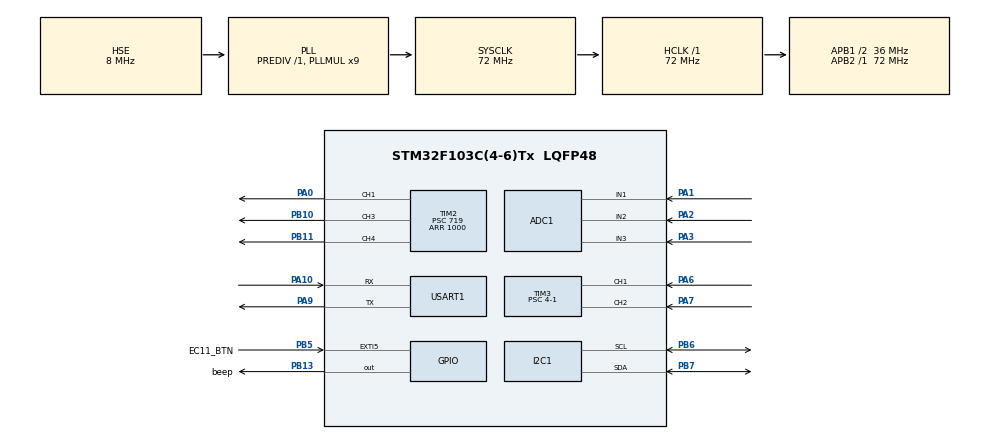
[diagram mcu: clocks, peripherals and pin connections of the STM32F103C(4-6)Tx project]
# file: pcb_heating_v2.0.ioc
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ADC1.Channel-0\#ChannelRegularConversion=ADC_CHANNEL_1
ADC1.Channel-1\#ChannelRegularConversion=ADC_CHANNEL_2
ADC1.Channel-2\#ChannelRegularConversion=ADC_CHANNEL_3
ADC1.NbrOfConversion=3
ADC1.NbrOfConversionFlag=1
ADC1.Rank-0\#ChannelRegularConversion=1
ADC1.Rank-1\#ChannelRegularConversion=2
ADC1.Rank-2\#ChannelRegularConversion=3
ADC1.SamplingTime-0\#ChannelRegularConversion=ADC_SAMPLETIME_55CYCLES_5
ADC1.SamplingTime-1\#ChannelRegularConversion=ADC_SAMPLETIME_55CYCLES_5
ADC1.SamplingTime-2\#ChannelRegularConversion=ADC_SAMPLETIME_55CYCLES_5
ADC1.master=1
Dma.ADC1.0.Direction=DMA_PERIPH_TO_MEMORY
Dma.ADC1.0.Instance=DMA1_Channel1
Dma.ADC1.0.MemDataAlignment=DMA_MDATAALIGN_HALFWORD
Dma.ADC1.0.MemInc=DMA_MINC_ENABLE
Dma.ADC1.0.Mode=DMA_CIRCULAR
Dma.ADC1.0.PeriphDataAlignment=DMA_PDATAALIGN_HALFWORD
Dma.ADC1.0.PeriphInc=DMA_PINC_DISABLE
Dma.ADC1.0.Priority=DMA_PRIORITY_LOW
Dma.Request0=ADC1
I2C1.I2C_Mode=I2C_Fast
Mcu.Family=STM32F1
Mcu.Name=STM32F103C(4-6)Tx
Mcu.Package=LQFP48
NVIC.ADC1_2_IRQn=true\:0\:0\:false\:false\:true\:true\:true\:true
NVIC.DMA1_Channel1_IRQn=true\:0\:0\:false\:false\:true\:false\:true\:true
NVIC.EXTI9_5_IRQn=true\:0\:0\:false\:false\:true\:true\:true\:true
NVIC.PriorityGroup=NVIC_PRIORITYGROUP_4
NVIC.TIM1_UP_IRQn=true\:0\:0\:false\:false\:true\:true\:true\:true
NVIC.USART1_IRQn=true\:0\:0\:false\:false\:true\:true\:true\:true
PA0-WKUP.GPIO_Speed=GPIO_SPEED_FREQ_HIGH
PA0-WKUP.Signal=S_TIM2_CH1_ETR
PA1.Signal=ADCx_IN1
PA10.Mode=Asynchronous
PA10.Signal=USART1_RX
PA13.Mode=Serial_Wire
PA13.Signal=SYS_JTMS-SWDIO
PA14.Mode=Serial_Wire
PA14.Signal=SYS_JTCK-SWCLK
PA2.Signal=ADCx_IN2
PA3.Signal=ADCx_IN3
PA6.GPIO_PuPd=GPIO_PULLUP
PA6.Signal=S_TIM3_CH1
PA7.GPIO_PuPd=GPIO_PULLUP
PA7.Signal=S_TIM3_CH2
PA9.Mode=Asynchronous
PA9.Signal=USART1_TX
PB10.GPIO_Speed=GPIO_SPEED_FREQ_HIGH
PB10.Signal=S_TIM2_CH3
PB11.GPIO_Speed=GPIO_SPEED_FREQ_HIGH
PB11.Signal=S_TIM2_CH4
PB13.GPIO_Label=beep
PB13.GPIO_PuPd=GPIO_PULLUP
PB13.PinState=GPIO_PIN_SET
PB13.Signal=GPIO_Output
PB5.GPIO_Label=EC11_BTN
PB5.GPIO_ModeDefaultEXTI=GPIO_MODE_IT_FALLING
PB5.GPIO_PuPd=GPIO_PULLUP
PB5.Signal=GPXTI5
PB6.GPIO_Pu=GPIO_PULLUP
PB6.Mode=I2C
PB6.Signal=I2C1_SCL
PB7.GPIO_Pu=GPIO_PULLUP
PB7.Mode=I2C
PB7.Signal=I2C1_SDA
PD0-OSC_IN.Mode=HSE-External-Oscillator
PD0-OSC_IN.Signal=RCC_OSC_IN
PD1-OSC_OUT.Mode=HSE-External-Oscillator
PD1-OSC_OUT.Signal=RCC_OSC_OUT
ProjectManager.HeapSize=0x200
ProjectManager.StackSize=0x400
ProjectManager.TargetToolchain=MDK-ARM V5.32
RCC.ADCPresc=RCC_ADCPCLK2_DIV6
RCC.AHBFreq_Value=72000000
RCC.APB1CLKDivider=RCC_HCLK_DIV2
RCC.APB1Freq_Value=36000000
RCC.APB1TimFreq_Value=72000000
RCC.APB2Freq_Value=72000000
RCC.APB2TimFreq_Value=72000000
RCC.HCLKFreq_Value=72000000
RCC.PLLMUL=RCC_PLL_MUL9
RCC.PLLSourceVirtual=RCC_PLLSOURCE_HSE
RCC.SYSCLKFreq_VALUE=72000000
RCC.SYSCLKSource=RCC_SYSCLKSOURCE_PLLCLK
RCC.USBFreq_Value=72000000
SH.ADCx_IN1.0=ADC1_IN1,IN1
SH.ADCx_IN2.0=ADC1_IN2,IN2
SH.ADCx_IN3.0=ADC1_IN3,IN3
SH.S_TIM2_CH1_ETR.0=TIM2_CH1,PWM Generation1 CH1
SH.S_TIM2_CH3.0=TIM2_CH3,PWM Generation3 CH3
SH.S_TIM2_CH4.0=TIM2_CH4,PWM Generation4 CH4
SH.S_TIM3_CH1.0=TIM3_CH1,Encoder_Interface
SH.S_TIM3_CH2.0=TIM3_CH2,Encoder_Interface
TIM1.Period=10000-1
TIM1.Prescaler=719
TIM1.TIM_MasterOutputTrigger=TIM_TRGO_RESET
TIM2.Channel-PWM\ Generation1\ CH1=TIM_CHANNEL_1
TIM2.Channel-PWM\ Generation3\ CH3=TIM_CHANNEL_3
TIM2.Channel-PWM\ Generation4\ CH4=TIM_CHANNEL_4
TIM2.OCPolarity_1=TIM_OCPOLARITY_LOW
TIM2.OCPolarity_3=TIM_OCPOLARITY_LOW
TIM2.Period=1000
TIM2.Prescaler=719
TIM3.ClockDivision=TIM_CLOCKDIVISION_DIV1
TIM3.EncoderMode=TIM_ENCODERMODE_TI12
TIM3.IC1Polarity=TIM_ICPOLARITY_FALLING
TIM3.IC1Prescaler=TIM_ICPSC_DIV1
TIM3.IC2Polarity=TIM_ICPOLARITY_FALLING
TIM3.IC2Prescaler=TIM_ICPSC_DIV1
TIM3.Period=65535
TIM3.Prescaler=4-1
USART1.VirtualMode=VM_ASYNC
VP_TIM1_VS_ClockSourceINT.Mode=Internal
VP_TIM2_VS_ClockSourceINT.Mode=Internal
board=custom

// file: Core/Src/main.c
/* USER CODE BEGIN Header */
/**
  ******************************************************************************
  * @file           : main.c
  * @brief          : Main program body
  ******************************************************************************
  * @attention
  *
  * Copyright (c) 2023 STMicroelectronics.
  * All rights reserved.
  *
  * This software is licensed under terms that can be found in the LICENSE file
  * in the root directory of this software component.
  * If no LICENSE file comes with this software, it is provided AS-IS.
  *
  ******************************************************************************
  */
/* USER CODE END Header */
#include "main.h"
#include "adc.h"
#include "dma.h"
#include "i2c.h"
#include "tim.h"
#include "usart.h"
#include "gpio.h"

/* USER CODE BEGIN Includes */
#include "delay.h"
#include "oled.h"
#include "driver_adc.h"
#include <stdio.h>
#include "mytimer.h"
#include "driver_ec11.h"
#include "pid.h"
#include "control.h"
#include "Dino.h"
/* USER CODE END Includes */

void SystemClock_Config(void);

int main(void)
{

  /* MCU Configuration--------------------------------------------------------*/

  /* Reset of all peripherals, Initializes the Flash interface and the Systick. */
  HAL_Init();

  /* USER CODE BEGIN Init */
    delay_init(72);
  /* USER CODE END Init */

  /* Configure the system clock */
  SystemClock_Config();

  /* Initialize all configured peripherals */
  MX_GPIO_Init();
  MX_DMA_Init();
  MX_I2C1_Init();
  MX_TIM1_Init();
  MX_TIM2_Init();
  MX_ADC1_Init();
  MX_TIM3_Init();
  MX_USART1_UART_Init();
  /* USER CODE BEGIN 2 */
    HAL_TIM_PWM_Start(&htim2, TIM_CHANNEL_1);//led
    HAL_TIM_PWM_Start(&htim2, TIM_CHANNEL_3);//plate
    HAL_TIM_PWM_Start(&htim2, TIM_CHANNEL_4);

    pid_init(80, 0.5, 0);
    //set_pid_target(&pid, 90);
    OLED_Init();
    HAL_TIM_Base_Start_IT(&htim1);
    ec11_init();
    bsp_adc_init();

  /* USER CODE END 2 */

  /* Infinite loop */
  /* USER CODE BEGIN WHILE */
    Hello();
  while (1)
  {
      static unsigned int i;//80ms
      static uint8_t DinoStatus;
      uint8_t ret = 0;
      if(DinoStatus == 0){
          i++;
          show_main_win();
          EncoderAction();
          if(i % 20 == 0){
            printf("T(main)=%4.1f, T(pcb)=%4.1f, V(input)=%4.1f, V(main)=%4.2f, V(pcb)=%4.2f, P=%5.1f, R(main)=%6.2fK, R(pcb)=%5.2fK \r\n", temp[HEATING_PLATE], temp[PCB], voltage[VCC], voltage[HEATING_PLATE], voltage[PCB], pid.PID_out, R_rnt[HEATING_PLATE], R_rnt[PCB]);
          }
          if (HAL_GPIO_ReadPin(EC11_BTN_GPIO_Port, EC11_BTN_Pin) == GPIO_PIN_RESET) {
            DinoStatus = 1;
            introMessage();
          }
      }else{
        if (HAL_GPIO_ReadPin(EC11_BTN_GPIO_Port, EC11_BTN_Pin) == GPIO_PIN_RESET) {
          showLine();
          ret = play();
          if(ret == 1){
            while(HAL_GPIO_ReadPin(EC11_BTN_GPIO_Port, EC11_BTN_Pin) != GPIO_PIN_RESET);
            DinoStatus = 0;
          }
          HAL_Delay(300);

        }
      }

    /* USER CODE END WHILE */

  }
}

void SystemClock_Config(void)
{
  RCC_OscInitTypeDef RCC_OscInitStruct = {0};
  RCC_ClkInitTypeDef RCC_ClkInitStruct = {0};
  RCC_PeriphCLKInitTypeDef PeriphClkInit = {0};

  /** Initializes the RCC Oscillators according to the specified parameters
  * in the RCC_OscInitTypeDef structure.
  */
  RCC_OscInitStruct.OscillatorType = RCC_OSCILLATORTYPE_HSE;
  RCC_OscInitStruct.HSEState = RCC_HSE_ON;
  RCC_OscInitStruct.HSEPredivValue = RCC_HSE_PREDIV_DIV1;
  RCC_OscInitStruct.HSIState = RCC_HSI_ON;
  RCC_OscInitStruct.PLL.PLLState = RCC_PLL_ON;
  RCC_OscInitStruct.PLL.PLLSource = RCC_PLLSOURCE_HSE;
  RCC_OscInitStruct.PLL.PLLMUL = RCC_PLL_MUL9;
  if (HAL_RCC_OscConfig(&RCC_OscInitStruct) != HAL_OK)
  {
    Error_Handler();
  }

  /** Initializes the CPU, AHB and APB buses clocks
  */
  RCC_ClkInitStruct.ClockType = RCC_CLOCKTYPE_HCLK|RCC_CLOCKTYPE_SYSCLK
                              |RCC_CLOCKTYPE_PCLK1|RCC_CLOCKTYPE_PCLK2;
  RCC_ClkInitStruct.SYSCLKSource = RCC_SYSCLKSOURCE_PLLCLK;
  RCC_ClkInitStruct.AHBCLKDivider = RCC_SYSCLK_DIV1;
  RCC_ClkInitStruct.APB1CLKDivider = RCC_HCLK_DIV2;
  RCC_ClkInitStruct.APB2CLKDivider = RCC_HCLK_DIV1;

  if (HAL_RCC_ClockConfig(&RCC_ClkInitStruct, FLASH_LATENCY_2) != HAL_OK)
  {
    Error_Handler();
  }
  PeriphClkInit.PeriphClockSelection = RCC_PERIPHCLK_ADC;
  PeriphClkInit.AdcClockSelection = RCC_ADCPCLK2_DIV6;
  if (HAL_RCCEx_PeriphCLKConfig(&PeriphClkInit) != HAL_OK)
  {
    Error_Handler();
  }
}

void Error_Handler(void)
{
  __disable_irq();
  while (1)
  {
  }
}
